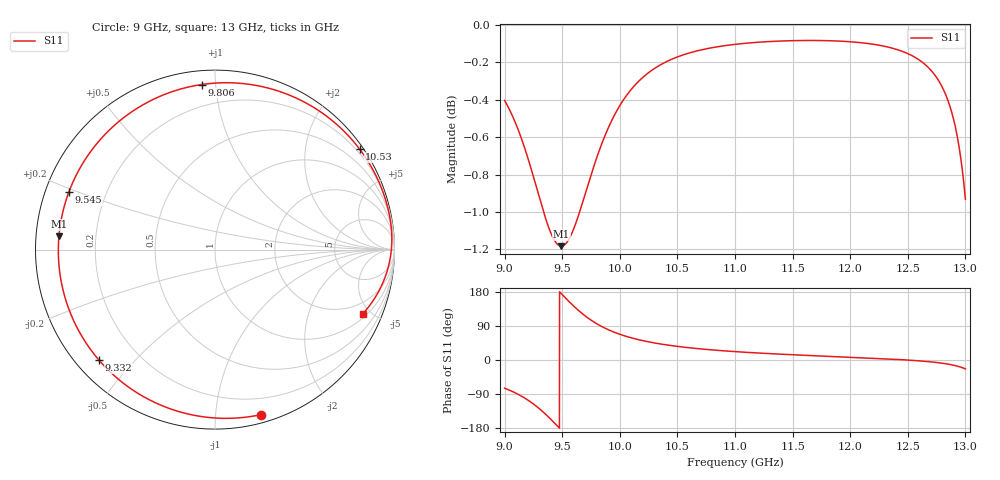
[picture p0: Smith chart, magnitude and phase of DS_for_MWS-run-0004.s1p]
! TOUCHSTONE file generated by CST DESIGN STUDIO
! Date and time: Tue Feb  4 17:05:16 2025
! Project name: C:\Work\MatlabApps\UnitCellOptimizationMatlab\CST\unitcell.cst
! Tree item: Tasks\Sweep1\SPara1\S-Parameters
! Header version: 2024
! Port assignment regex: !\s*Touchstone port\s*([0-9]+)\s*=\s*(CST MWS port|CST DES external port|CST DES block port)\s*(.+)\s* \(\"(.*)\"\)(\s*mode\s*([0-9]+))?.*
! Touchstone port assignment:
! Touchstone port 1 = CST DES external port 1 ("")
# GHz S MA R 50
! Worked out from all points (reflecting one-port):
!   4001 points, 9 GHz to 13 GHz, reference 50 ohm
!   lowest |S11| = -1.2 dB at 9.492 GHz (marker M1), VSWR 14.71, Z = 3.4 + j2.11 ohm
!   phase of S11 starts at -74 deg and turns -309 deg over the sweep
!   S11 on the Smith chart (normalised r, x): 9 GHz: 0.06, -1.31; 9.332 GHz: 0.07, -0.40; 9.545 GHz: 0.07, +0.19; 9.806 GHz: 0.07, +0.92; 10.53 GHz: 0.11, +3.18; 13 GHz: 1.22, -4.51
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9  0.9546 -74.4
9.086  0.9428 -85.7
9.19  0.9238 -103.4
9.263  0.9079 -119.0
9.332  0.8926 -136.5
9.417  0.8776 -161.3
9.455  0.874 -173.1
9.492  0.8727 175.1
9.5  0.8728 172.6
9.545  0.8751 158.6
9.61  0.8837 139.4
9.671  0.8953 123.2
9.735  0.9086 108.4
9.806  0.9228 94.6
9.901  0.9387 79.8
10  0.9516 67.9
10.102  0.9613 58.3
10.216  0.9692 50.0
10.347  0.9755 42.6
10.5  0.9805 35.9
10.529  0.9812 34.8
11  0.9881 22.1
11.5  0.9903 13.9
12  0.9897 7.4
12.5  0.9825 -0.1
12.8  0.9623 -8.5
12.912  0.9396 -14.8
13  0.8982 -23.4
